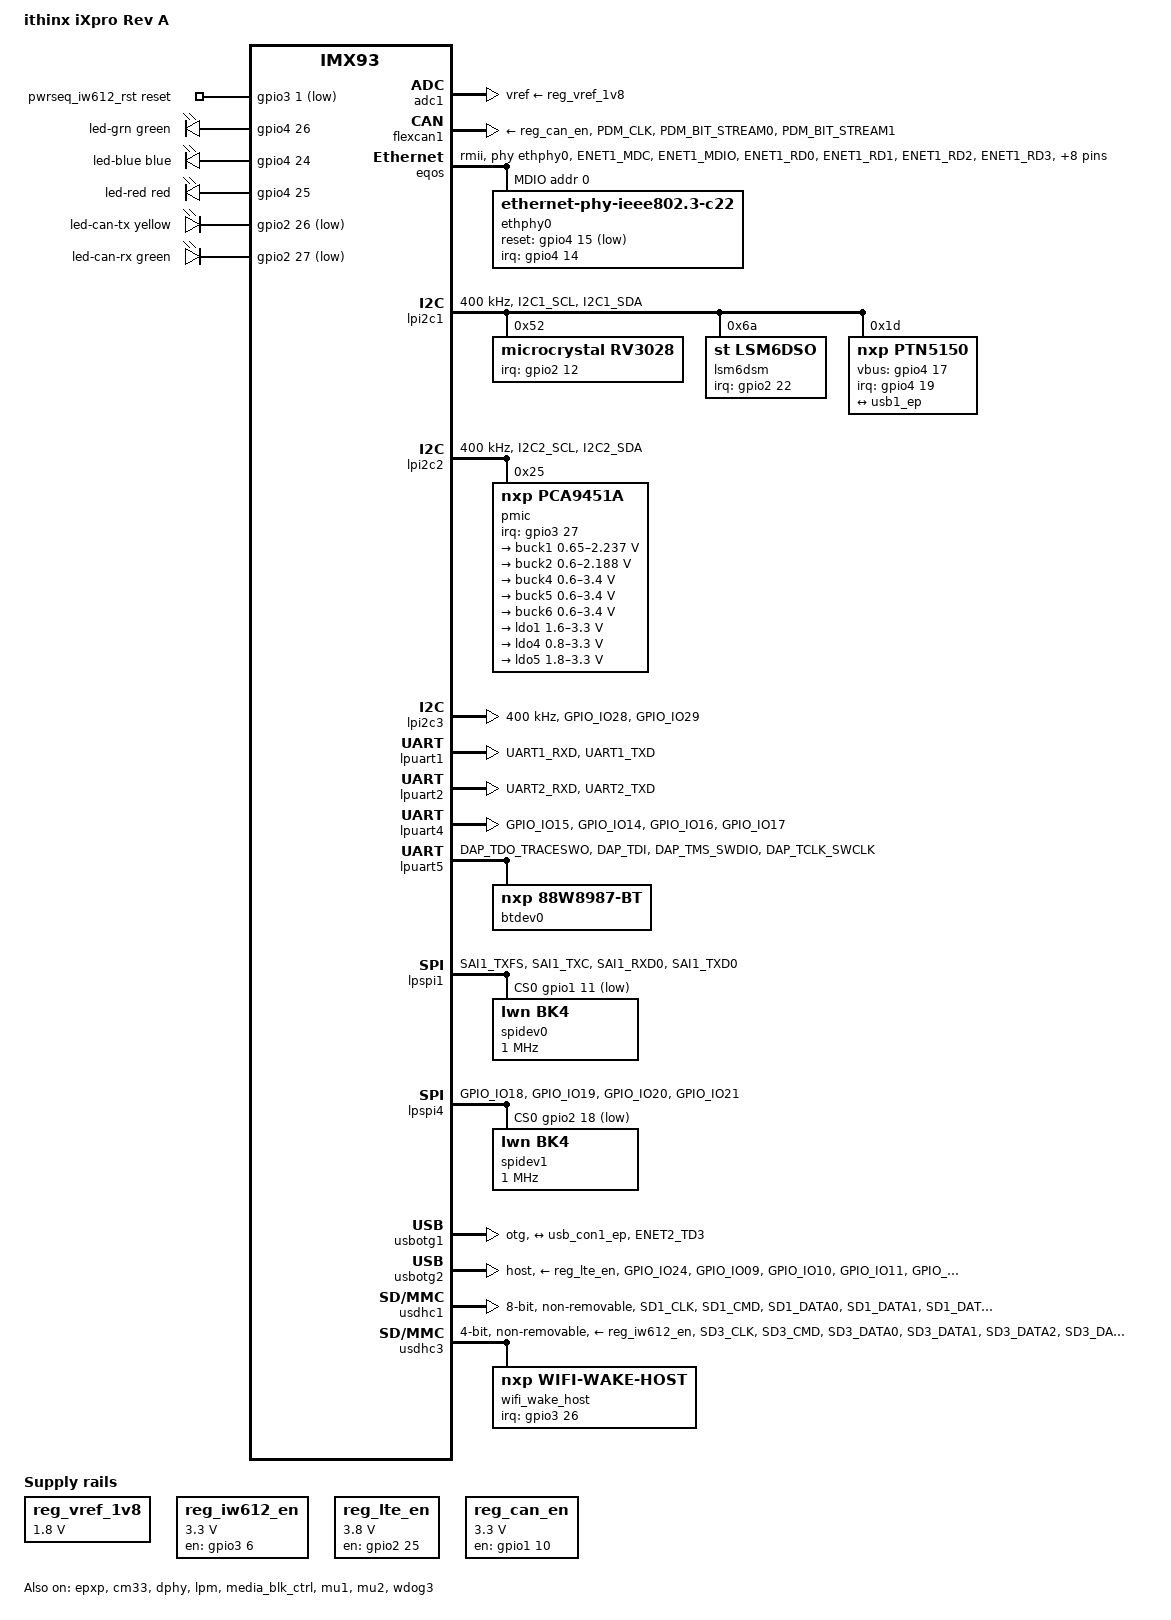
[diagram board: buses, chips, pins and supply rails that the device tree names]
/dts-v1/;

#include <dt-bindings/usb/pd.h>
#include <dt-bindings/leds/common.h>
#include "imx93.dtsi"

&ele_fw2 {
	memory-region = <&ele_reserved>;
};

/ {
	model = "ithinx iXpro Rev A";
	compatible = "fsl,imx93-11x11", "fsl,imx93";

	aliases {
		rtc0 = &rv3028;
		rtc1 = &bbnsm_rtc;
		eth0 = &eqos;
	};

	chosen {
		stdout-path = &lpuart1;
	};

	reserved-memory {
		#address-cells = <2>;
		#size-cells = <2>;
		ranges;

		linux,cma {
			compatible = "shared-dma-pool";
			reusable;
			alloc-ranges = <0 0x80000000 0 0x40000000>;
			size = <0 0x10000000>;
			linux,cma-default;
		};

		ethosu_mem: ethosu_region@C0000000 {
			compatible = "shared-dma-pool";
			reusable;
			reg = <0x0 0xC0000000 0x0 0x10000000>;
		};

		vdev0vring0: vdev0vring0@a4000000 {
			reg = <0 0xa4000000 0 0x8000>;
			no-map;
		};

		vdev0vring1: vdev0vring1@a4008000 {
			reg = <0 0xa4008000 0 0x8000>;
			no-map;
		};

		vdev1vring0: vdev1vring0@a4010000 {
			reg = <0 0xa4010000 0 0x8000>;
			no-map;
		};

		vdev1vring1: vdev1vring1@a4018000 {
			reg = <0 0xa4018000 0 0x8000>;
			no-map;
		};

		rsc_table: rsc-table@2021e000 {
			reg = <0 0x2021e000 0 0x1000>;
			no-map;
		};

		vdevbuffer: vdevbuffer@a4020000 {
			compatible = "shared-dma-pool";
			reg = <0 0xa4020000 0 0x100000>;
			no-map;
		};

		ele_reserved: ele-reserved@a4120000 {
			compatible = "shared-dma-pool";
			reg = <0 0xa4120000 0 0x100000>;
			no-map;
		};
	};

	ethosu {
		compatible = "arm,ethosu";
		fsl,cm33-proc = <&cm33>;
		memory-region = <&ethosu_mem>;
		power-domains = <&mlmix>;
	};

	reg_vref_1v8: regulator-vref-1v8 {
		compatible = "regulator-fixed";
		regulator-name = "vref_1v8";
		regulator-min-microvolt = <1800000>;
		regulator-max-microvolt = <1800000>;
	};

	reg_iw612_en: regulator-iw612-en {
		compatible = "regulator-fixed";
		regulator-name = "WLAN_EN";
		regulator-min-microvolt = <3300000>;
		regulator-max-microvolt = <3300000>;
		gpio = <&gpio3 6 GPIO_ACTIVE_HIGH>;
		/*
		 * IW612 wifi chip needs more delay than other wifi chips to complete
		 * the host interface initialization after power up, otherwise the
		 * internal state of IW612 may be unstable, resulting in the failure of
		 * the SDIO3.0 switch voltage.
		 */
		startup-delay-us = <20000>;
		enable-active-high;
	};

	pwrseq_iw612_rst: pwrseq-iw612-rst {
		compatible = "mmc-pwrseq-simple";
		reset-gpios = <&gpio3 1 GPIO_ACTIVE_LOW>;
	};

	reg_lte_en: regulator-lte-en {
		compatible = "regulator-fixed";
		regulator-name = "LTE_EN";
		regulator-min-microvolt = <3800000>;
		regulator-max-microvolt = <3800000>;
		gpio = <&gpio2 25 GPIO_ACTIVE_HIGH>;
		enable-active-high;
	};

	reg_can_en: regulator-can-en {
		compatible = "regulator-fixed";
		regulator-name = "CAN_EN";
		regulator-min-microvolt = <3300000>;
		regulator-max-microvolt = <3300000>;
		gpio = <&gpio1 10 GPIO_ACTIVE_HIGH>;
		enable-active-high;
	};

	led_controller: led-controller {
		compatible = "gpio-leds";
		pinctrl-names = "default";
		pinctrl-0 = <&pinctrl_led_gpio>;

		led-grn {
			color = <LED_COLOR_ID_GREEN>;
			function = LED_FUNCTION_DEBUG;
			gpios = <&gpio4 26 GPIO_ACTIVE_HIGH>;
			linux,default-trigger = "heartbeat";
			default-state = "off";
		};

		led-blue {
			color = <LED_COLOR_ID_BLUE>;
			function = LED_FUNCTION_DEBUG;
			gpios = <&gpio4 24 GPIO_ACTIVE_HIGH>;
			default-state = "off";
		};

		led-red {
			color = <LED_COLOR_ID_RED>;
			function = LED_FUNCTION_DEBUG;
			gpios = <&gpio4 25 GPIO_ACTIVE_HIGH>;
			default-state = "off";
		};

		led-can-tx {
			color = <LED_COLOR_ID_YELLOW>;
			function = LED_FUNCTION_TX;
			gpios = <&gpio2 26 GPIO_ACTIVE_LOW>;
			default-state = "off";
		};

		led-can-rx {
			color = <LED_COLOR_ID_GREEN>;
			function = LED_FUNCTION_RX;
			gpios = <&gpio2 27 GPIO_ACTIVE_LOW>;
			default-state = "off";
		};
	};
};

&epxp {
	status = "okay";
};

&adc1 {
	vref-supply = <&reg_vref_1v8>;
	status = "okay";
};

&cm33 {
	mbox-names = "tx", "rx", "rxdb";
	mboxes = <&mu1 0 1>,
		<&mu1 1 1>,
		<&mu1 3 1>;
	memory-region = <&vdevbuffer>, <&vdev0vring0>, <&vdev0vring1>,
			<&vdev1vring0>, <&vdev1vring1>, <&rsc_table>;
	fsl,startup-delay-ms = <500>;
	status = "okay";
};

&dphy {
	status = "okay";
};

&flexcan1 {
	pinctrl-names = "default";
	pinctrl-0 = <&pinctrl_flexcan1>, <&pinctrl_can_gpio>;
	xceiver-supply = <&reg_can_en>;
	status = "okay";
};

&eqos {
	pinctrl-names = "default";
	pinctrl-0 = <&pinctrl_eqos>;
	phy-mode = "rmii";
	phy-handle = <&ethphy0>;
	
	// 50MHz ENET1_TD2
	assigned-clocks = <&clk IMX93_CLK_ENET_TIMER2>,
					  <&clk IMX93_CLK_ENET>;
	assigned-clock-parents = <&clk IMX93_CLK_SYS_PLL_PFD1_DIV2>,
							 <&clk IMX93_CLK_SYS_PLL_PFD1_DIV2>;
	assigned-clock-rates = <100000000>, <50000000>;
	clk_csr = <5>;
	status = "okay";

	mdio {
		compatible = "snps,dwmac-mdio";
		#address-cells = <1>;
		#size-cells = <0>;
		clock-frequency = <2500000>;

		ethphy0: ethernet-phy@0 {
			compatible = "ethernet-phy-ieee802.3-c22";
			reg = <0>;
			pinctrl-names = "default";
			pinctrl-0 = <&pinctrl_ethphy_gpio>;
			interrupt-parent = <&gpio4>;
			interrupts = <14 IRQ_TYPE_LEVEL_LOW>;
			reset-names = "phy";
			reset-gpios = <&gpio4 15 GPIO_ACTIVE_LOW>;
			reset-assert-us = <25>;
			reset-post-delay-us = <500000>;
			rx-internal-delay-ps = <1>;
			tx-internal-delay-ps = <1>;
			max-speed = <100>;
		};
	};
};

&lpm {
	soc-supply = <&buck1>;
	status = "okay";
};

&lpi2c1 {
	#address-cells = <1>;
	#size-cells = <0>;
	clock-frequency = <400000>;
	pinctrl-names = "default", "sleep";
	pinctrl-0 = <&pinctrl_lpi2c1>;
	pinctrl-1 = <&pinctrl_lpi2c1>;
	status = "okay";

	rv3028: rtc@52 {
		compatible = "microcrystal,rv3028";
		reg = <0x52>;
		pinctrl-names = "default";
		pinctrl-0 = <&pinctrl_rtc_gpio>;
		interrupt-parent = <&gpio2>;
		interrupts = <12 IRQ_TYPE_LEVEL_LOW>;
		trickle-resistor-ohms = <3000>;
		trickle-voltage-millivolt = <3000>;
		status = "okay";
	};

	lsm6dsm: acc@6a {
		compatible = "st,lsm6dso";
		reg = <0x6a>;
		pinctrl-names = "default";
		pinctrl-0 = <&pinctrl_acc_gpio>;
		interrupt-parent = <&gpio2>;
		interrupts = <22 IRQ_TYPE_LEVEL_LOW>;
		status = "okay";
	};

	ptn5150: tcpc@1d {
		compatible = "nxp,ptn5150";
		reg = <0x1d>;
		pinctrl-names = "default";
		pinctrl-0 = <&pinctrl_tcpc_gpio>;
		interrupt-parent = <&gpio4>;
		interrupts = <19 IRQ_TYPE_LEVEL_LOW>;
		vbus-gpios = <&gpio4 17 GPIO_ACTIVE_HIGH>;
		status = "okay";

		usb_con1: connector {
			compatible = "usb-c-connector";
			label = "USB-C";
			power-role = "source";
			data-role = "dual";
			source-pdos = <PDO_FIXED(5000, 700, PDO_FIXED_USB_COMM)>;
			self-powered;
			pd-disable;
        };

		port {
			usb_con1_ep: endpoint {
				remote-endpoint = <&usb1_ep>;
			};
		};
	};
};

&lpi2c2 {
	#address-cells = <1>;
	#size-cells = <0>;
	clock-frequency = <400000>;
	pinctrl-names = "default", "sleep";
	pinctrl-0 = <&pinctrl_lpi2c2>;
	pinctrl-1 = <&pinctrl_lpi2c2>;
	status = "okay";

	pmic@25 {
		compatible = "nxp,pca9451a";
		reg = <0x25>;
		pinctrl-names = "default";
		pinctrl-0 = <&pinctrl_pmic_gpio>;
		interrupt-parent = <&gpio3>;
		interrupts = <27 IRQ_TYPE_EDGE_FALLING>;

		regulators {
			buck1: BUCK1 {
				regulator-name = "BUCK1";
				regulator-min-microvolt = <650000>;
				regulator-max-microvolt = <2237500>;
				regulator-boot-on;
				regulator-always-on;
				regulator-ramp-delay = <3125>;
			};

			buck2: BUCK2 {
				regulator-name = "BUCK2";
				regulator-min-microvolt = <600000>;
				regulator-max-microvolt = <2187500>;
				regulator-boot-on;
				regulator-always-on;
				regulator-ramp-delay = <3125>;
			};

			buck4: BUCK4{
				regulator-name = "BUCK4";
				regulator-min-microvolt = <600000>;
				regulator-max-microvolt = <3400000>;
				regulator-boot-on;
				regulator-always-on;
			};

			buck5: BUCK5{
				regulator-name = "BUCK5";
				regulator-min-microvolt = <600000>;
				regulator-max-microvolt = <3400000>;
				regulator-boot-on;
				regulator-always-on;
			};

			buck6: BUCK6 {
				regulator-name = "BUCK6";
				regulator-min-microvolt = <600000>;
				regulator-max-microvolt = <3400000>;
				regulator-boot-on;
				regulator-always-on;
			};

			ldo1: LDO1 {
				regulator-name = "LDO1";
				regulator-min-microvolt = <1600000>;
				regulator-max-microvolt = <3300000>;
				regulator-boot-on;
				regulator-always-on;
			};

			ldo4: LDO4 {
				regulator-name = "LDO4";
				regulator-min-microvolt = <800000>;
				regulator-max-microvolt = <3300000>;
				regulator-boot-on;
				regulator-always-on;
			};

			ldo5: LDO5 {
				regulator-name = "LDO5";
				regulator-min-microvolt = <1800000>;
				regulator-max-microvolt = <3300000>;
				regulator-boot-on;
				regulator-always-on;
			};
		};
	};
};

&lpi2c3 { /* EXT_I2C */
	#address-cells = <1>;
	#size-cells = <0>;
	clock-frequency = <400000>;
	pinctrl-names = "default", "sleep";
	pinctrl-0 = <&pinctrl_lpi2c3>;
	pinctrl-1 = <&pinctrl_lpi2c3>;
	status = "okay";
};

&lpuart1 { /* console */
	pinctrl-names = "default";
	pinctrl-0 = <&pinctrl_uart1>;
	status = "okay";
};

&lpuart2 { /* debug UART */
	pinctrl-names = "default";
	pinctrl-0 = <&pinctrl_uart2>;
	status = "okay";
};

&lpuart4 { /* ext UART */
	pinctrl-names = "default";
	pinctrl-0 = <&pinctrl_uart4>;
	status = "okay";
};

&lpuart5 { /* BT */
	pinctrl-names = "default";
	pinctrl-assert-gpios = <&gpio3 2 GPIO_ACTIVE_HIGH>;
	pinctrl-0 = <&pinctrl_uart5>;
	status = "okay";

	btdev0: bluetooth {
		compatible = "nxp,88w8987-bt";
	};
};

&lpspi1 { /* 802.15.4 */
    fsl,spi-num-chipselects = <1>;
    pinctrl-names = "default", "sleep";
    pinctrl-0 = <&pinctrl_lpspi1>;
    pinctrl-1 = <&pinctrl_lpspi1>;
    cs-gpios = <&gpio1 11 GPIO_ACTIVE_LOW>;
    status = "okay";

    spidev0: spi@0 {
        reg = <0>;
        compatible = "lwn,bk4";
        spi-max-frequency = <1000000>;
    };
};

&lpspi4 { /* ext SPI */
    fsl,spi-num-chipselects = <1>;
    pinctrl-names = "default", "sleep";
    pinctrl-0 = <&pinctrl_lpspi4>;
    pinctrl-1 = <&pinctrl_lpspi4>;
    cs-gpios = <&gpio2 18 GPIO_ACTIVE_LOW>;
    status = "okay";

    spidev1: spi@0 {
        reg = <0>;
        compatible = "lwn,bk4";
        spi-max-frequency = <1000000>;
    };
};

&media_blk_ctrl {
	status = "okay";
};

&mu1 {
	status = "okay";
};

&mu2 {
	status = "okay";
};

&usbotg1 {
	pinctrl-names = "default";
	pinctrl-0 = <&pinctrl_tccl_gpio>;
	dr_mode = "otg";
	usb-role-switch;
	role-switch-default-mode = "host";
	over-current-active-low;
	samsung,picophy-pre-emp-curr-control = <3>;
	samsung,picophy-dc-vol-level-adjust = <7>;
	status = "okay";

	port {
		usb1_ep: endpoint {
			remote-endpoint = <&usb_con1_ep>;
		};
	};
	port-1 {
		label ="usb-c-connector";
	};
};

&usbotg2 { /* LTE */
	pinctrl-names = "default";
	pinctrl-0 = <&pinctrl_lte_gpio>;
	dr_mode = "host";
	over-current-active-low;
	samsung,picophy-pre-emp-curr-control = <3>;
	samsung,picophy-dc-vol-level-adjust = <7>;
	vbus-supply = <&reg_lte_en>;
	status = "okay";

	port-4 {
		label ="usb-a-connector";
	};
};

&usdhc1 { /* eMMC */
	pinctrl-names = "default", "state_100mhz", "state_200mhz";
	pinctrl-0 = <&pinctrl_usdhc1>;
	pinctrl-1 = <&pinctrl_usdhc1_100mhz>;
	pinctrl-2 = <&pinctrl_usdhc1_200mhz>;
	bus-width = <8>;
	non-removable;
	status = "okay";
};

&usdhc3 { /* IW612 */
	pinctrl-names = "default", "state_100mhz", "state_200mhz";
	pinctrl-0 = <&pinctrl_usdhc3>, <&pinctrl_iw612_gpio>;
	pinctrl-1 = <&pinctrl_usdhc3_100mhz>, <&pinctrl_iw612_gpio>;
	pinctrl-2 = <&pinctrl_usdhc3_200mhz>, <&pinctrl_iw612_gpio>;
	mmc-pwrseq = <&pwrseq_iw612_rst>;
	vmmc-supply = <&reg_iw612_en>;
	bus-width = <4>;
	keep-power-in-suspend;
	non-removable;
	wakeup-source;
	fsl,sdio-async-interrupt-enabled;
	status = "okay";

	wifi_wake_host {
		compatible = "nxp,wifi-wake-host";
		interrupt-parent = <&gpio3>;
		interrupts = <26 IRQ_TYPE_LEVEL_LOW>;
		interrupt-names = "host-wake";
	};
};

&wdog3 {
	pinctrl-names = "default";
	pinctrl-0 = <&pinctrl_wdog>;
	status = "okay";
};

&iomuxc {
	pinctrl-names = "default";
    pinctrl-0 = <&pinctrl_hwrev_gpio>, <&pinctrl_ext_gpio>, <&pinctrl_tp_gpio>;

	pinctrl_flexcan1: flexcan1grp {
		fsl,pins = <
			MX93_PAD_PDM_CLK__CAN1_TX				0x0000011E
			MX93_PAD_PDM_BIT_STREAM0__CAN1_RX 		0x0000051E
		>;
	};

	pinctrl_lpi2c1: lpi2c1grp {
		fsl,pins = <
			MX93_PAD_I2C1_SCL__LPI2C1_SCL			0x40000b9e
			MX93_PAD_I2C1_SDA__LPI2C1_SDA			0x40000b9e
		>;
	};

	pinctrl_lpi2c2: lpi2c2grp {
		fsl,pins = <
			MX93_PAD_I2C2_SCL__LPI2C2_SCL			0x40000b9e
			MX93_PAD_I2C2_SDA__LPI2C2_SDA			0x40000b9e
		>;
	};

	pinctrl_lpi2c3: lpi2c3grp {
		fsl,pins = <
			MX93_PAD_GPIO_IO28__LPI2C3_SDA			0x40000b9e
			MX93_PAD_GPIO_IO29__LPI2C3_SCL			0x40000b9e
		>;
	};

	pinctrl_eqos: eqosgrp {
		fsl,pins = <
			MX93_PAD_ENET1_MDC__ENET_QOS_MDC 				0x57e
			MX93_PAD_ENET1_MDIO__ENET_QOS_MDIO 				0x57e
			MX93_PAD_ENET1_RD0__ENET_QOS_RGMII_RD0 			0x57e
			MX93_PAD_ENET1_RD1__ENET_QOS_RGMII_RD1 			0x57e
			MX93_PAD_ENET1_RD2__ENET_QOS_RGMII_RD2			0x57e
			MX93_PAD_ENET1_RD3__ENET_QOS_RGMII_RD3			0x57e
			MX93_PAD_ENET1_RXC__ENET_QOS_RX_ER 				0x5fe
			MX93_PAD_ENET1_RX_CTL__ENET_QOS_RGMII_RX_CTL 	0x57e
			MX93_PAD_ENET1_TD0__ENET_QOS_RGMII_TD0 			0x57e
			MX93_PAD_ENET1_TD1__ENET_QOS_RGMII_TD1 			0x57e
			MX93_PAD_ENET1_TD2__CCM_ENET_QOS_CLOCK_GENERATE_REF_CLK 0x4000057e
			MX93_PAD_ENET1_TD3__ENET_QOS_RGMII_TD3			0x57e
			MX93_PAD_ENET1_TXC__ENET_QOS_TX_ER				0x5fe
			MX93_PAD_ENET1_TX_CTL__ENET_QOS_RGMII_TX_CTL 	0x57e
		>;
	};

	pinctrl_uart1: uart1grp {
		fsl,pins = <
			MX93_PAD_UART1_RXD__LPUART1_RX			0x31e
			MX93_PAD_UART1_TXD__LPUART1_TX			0x31e
		>;
	};

	pinctrl_uart2: uart2grp {
		fsl,pins = <
			MX93_PAD_UART2_RXD__LPUART2_RX 			0x31e
			MX93_PAD_UART2_TXD__LPUART2_TX			0x31e
		>;
	};

	pinctrl_uart4: uart4grp {
		fsl,pins = <
			MX93_PAD_GPIO_IO15__LPUART4_RX 			0x31E
			MX93_PAD_GPIO_IO14__LPUART4_TX 			0x31E
			MX93_PAD_GPIO_IO16__LPUART4_CTS_B 		0x31E
			MX93_PAD_GPIO_IO17__LPUART4_RTS_B 		0x31E
		>;
	};

	pinctrl_uart5: uart5grp {
		fsl,pins = <
			MX93_PAD_DAP_TDO_TRACESWO__LPUART5_TX	0x31e
			MX93_PAD_DAP_TDI__LPUART5_RX			0x31e
			MX93_PAD_DAP_TMS_SWDIO__LPUART5_RTS_B	0x31e
			MX93_PAD_DAP_TCLK_SWCLK__LPUART5_CTS_B	0x31e
		>;
	};

	/* need to config the SION for data and cmd pad, refer to ERR052021 */
	pinctrl_usdhc1: usdhc1grp {
		fsl,pins = <
			MX93_PAD_SD1_CLK__USDHC1_CLK		0x1582
			MX93_PAD_SD1_CMD__USDHC1_CMD		0x40001382
			MX93_PAD_SD1_DATA0__USDHC1_DATA0	0x40001382
			MX93_PAD_SD1_DATA1__USDHC1_DATA1	0x40001382
			MX93_PAD_SD1_DATA2__USDHC1_DATA2	0x40001382
			MX93_PAD_SD1_DATA3__USDHC1_DATA3	0x40001382
			MX93_PAD_SD1_DATA4__USDHC1_DATA4	0x40001382
			MX93_PAD_SD1_DATA5__USDHC1_DATA5	0x40001382
			MX93_PAD_SD1_DATA6__USDHC1_DATA6	0x40001382
			MX93_PAD_SD1_DATA7__USDHC1_DATA7	0x40001382
			MX93_PAD_SD1_STROBE__USDHC1_STROBE	0x1582
		>;
	};

	/* need to config the SION for data and cmd pad, refer to ERR052021 */
	pinctrl_usdhc1_100mhz: usdhc1-100mhzgrp {
		fsl,pins = <
			MX93_PAD_SD1_CLK__USDHC1_CLK		0x158e
			MX93_PAD_SD1_CMD__USDHC1_CMD		0x4000138e
			MX93_PAD_SD1_DATA0__USDHC1_DATA0	0x4000138e
			MX93_PAD_SD1_DATA1__USDHC1_DATA1	0x4000138e
			MX93_PAD_SD1_DATA2__USDHC1_DATA2	0x4000138e
			MX93_PAD_SD1_DATA3__USDHC1_DATA3	0x4000138e
			MX93_PAD_SD1_DATA4__USDHC1_DATA4	0x4000138e
			MX93_PAD_SD1_DATA5__USDHC1_DATA5	0x4000138e
			MX93_PAD_SD1_DATA6__USDHC1_DATA6	0x4000138e
			MX93_PAD_SD1_DATA7__USDHC1_DATA7	0x4000138e
			MX93_PAD_SD1_STROBE__USDHC1_STROBE	0x158e
		>;
	};

	/* need to config the SION for data and cmd pad, refer to ERR052021 */
	pinctrl_usdhc1_200mhz: usdhc1-200mhzgrp {
		fsl,pins = <
			MX93_PAD_SD1_CLK__USDHC1_CLK		0x15fe
			MX93_PAD_SD1_CMD__USDHC1_CMD		0x400013fe
			MX93_PAD_SD1_DATA0__USDHC1_DATA0	0x400013fe
			MX93_PAD_SD1_DATA1__USDHC1_DATA1	0x400013fe
			MX93_PAD_SD1_DATA2__USDHC1_DATA2	0x400013fe
			MX93_PAD_SD1_DATA3__USDHC1_DATA3	0x400013fe
			MX93_PAD_SD1_DATA4__USDHC1_DATA4	0x400013fe
			MX93_PAD_SD1_DATA5__USDHC1_DATA5	0x400013fe
			MX93_PAD_SD1_DATA6__USDHC1_DATA6	0x400013fe
			MX93_PAD_SD1_DATA7__USDHC1_DATA7	0x400013fe
			MX93_PAD_SD1_STROBE__USDHC1_STROBE	0x15fe
		>;
	};

	/* need to config the SION for data and cmd pad, refer to ERR052021 */
	pinctrl_usdhc3: usdhc3grp {
		fsl,pins = <
			MX93_PAD_SD3_CLK__USDHC3_CLK		0x1582
			MX93_PAD_SD3_CMD__USDHC3_CMD		0x40001382
			MX93_PAD_SD3_DATA0__USDHC3_DATA0	0x40001382
			MX93_PAD_SD3_DATA1__USDHC3_DATA1	0x40001382
			MX93_PAD_SD3_DATA2__USDHC3_DATA2	0x40001382
			MX93_PAD_SD3_DATA3__USDHC3_DATA3	0x40001382
		>;
	};

	/* need to config the SION for data and cmd pad, refer to ERR052021 */
	pinctrl_usdhc3_100mhz: usdhc3-100mhzgrp {
		fsl,pins = <
			MX93_PAD_SD3_CLK__USDHC3_CLK		0x158e
			MX93_PAD_SD3_CMD__USDHC3_CMD		0x4000138e
			MX93_PAD_SD3_DATA0__USDHC3_DATA0	0x4000138e
			MX93_PAD_SD3_DATA1__USDHC3_DATA1	0x4000138e
			MX93_PAD_SD3_DATA2__USDHC3_DATA2	0x4000138e
			MX93_PAD_SD3_DATA3__USDHC3_DATA3	0x4000138e
		>;
	};

	/* need to config the SION for data and cmd pad, refer to ERR052021 */
	pinctrl_usdhc3_200mhz: usdhc3-200mhzgrp {
		fsl,pins = <
			MX93_PAD_SD3_CLK__USDHC3_CLK		0x15fe
			MX93_PAD_SD3_CMD__USDHC3_CMD		0x400013fe
			MX93_PAD_SD3_DATA0__USDHC3_DATA0	0x400013fe
			MX93_PAD_SD3_DATA1__USDHC3_DATA1	0x400013fe
			MX93_PAD_SD3_DATA2__USDHC3_DATA2	0x400013fe
			MX93_PAD_SD3_DATA3__USDHC3_DATA3	0x400013fe
		>;
	};

	pinctrl_lpspi1: lpspi3grp {
		fsl,pins = <
			MX93_PAD_SAI1_TXFS__GPIO1_IO11      0x51E /* SPI1_CS0 */
			MX93_PAD_SAI1_TXC__LPSPI1_SIN       0x51E /* SPI1_MOSI */
			MX93_PAD_SAI1_RXD0__LPSPI1_SOUT     0x11E /* SPI1_MISO */
			MX93_PAD_SAI1_TXD0__LPSPI1_SCK      0x11E /* SPI1_CLK */
        >;
    };

	pinctrl_lpspi4: lpspi4grp {
		fsl,pins = <
			MX93_PAD_GPIO_IO18__GPIO2_IO18 		0x11E /* SPI4_CS0 */
			MX93_PAD_GPIO_IO19__LPSPI4_SIN 		0x51E /* SPI4_MOSI */
			MX93_PAD_GPIO_IO20__LPSPI4_SOUT 	0x11E /* SPI4_MISO */
			MX93_PAD_GPIO_IO21__LPSPI4_SCK 		0x11E /* SPI4_CLK */
        >;
    };

	pinctrl_wdog: wdoggrp {
		fsl,pins = <
			MX93_PAD_WDOG_ANY__WDOG1_WDOG_ANY 	0x31E /* WDOG_B */
		>;
	};

	pinctrl_rtc_gpio: rtc-gpiogrp {
		fsl,pins = <
			MX93_PAD_GPIO_IO12__GPIO2_IO12 		0x31E /* RTC_INTn */
		>;
	};

	pinctrl_acc_gpio: acc-gpiogrp {
		fsl,pins = <
			MX93_PAD_GPIO_IO22__GPIO2_IO22 		0x51E /* ACC_INT */
		>;
	};

	pinctrl_pmic_gpio: pmic-gpiogrp {
		fsl,pins = <
			MX93_PAD_CCM_CLKO2__GPIO3_IO27 		0x31E /* PMIC_INTn */
		>;
	};

	pinctrl_tcpc_gpio: tcpc-gpiogrp {
		fsl,pins = <
			MX93_PAD_ENET2_TD0__GPIO4_IO19 		0x11E /* USB_CC_INTn */
			MX93_PAD_ENET2_TD1__GPIO4_IO18 		0x11E /* USB_CC_EXT_SEL */
			MX93_PAD_ENET2_TD2__GPIO4_IO17 		0x11E /* USB_C_EN */
		>;
	};

	pinctrl_tccl_gpio: tccl-gpiogrp {
		fsl,pins = <
			MX93_PAD_ENET2_TD3__GPIO4_IO16 		0x11E /* USB_C_FLTn */
		>;
	};

	pinctrl_lte_gpio: lte-gpiogrp {
		fsl,pins = <
			MX93_PAD_GPIO_IO24__GPIO2_IO24 		0x51E /* LTE_WKUP_INT */
			MX93_PAD_GPIO_IO09__GPIO2_IO09 		0x11E /* LTE_PWRKEY */
			MX93_PAD_GPIO_IO10__GPIO2_IO10      0x11E /* LTE_USB_BOOT */
			MX93_PAD_GPIO_IO11__GPIO2_IO11 		0x11E /* LTE_RST */
			MX93_PAD_GPIO_IO25__GPIO2_IO25 		0x11E /* LTE_EN */
		>;
	};

	pinctrl_iw612_gpio: iw612-gpiogrp {
		fsl,pins = <
			MX93_PAD_SD2_CD_B__GPIO3_IO00       0x11E /* WL_WAKE_INx */
			MX93_PAD_SD2_CLK__GPIO3_IO01		0x11E /* IND_RST_WLx */
			MX93_PAD_SD2_CMD__GPIO3_IO02        0x11E /* IND_RST_BTx */
			MX93_PAD_SD2_DATA0__GPIO3_IO03      0x11E /* IND_RST_15.4x */
			MX93_PAD_SD2_DATA3__GPIO3_IO06      0x11E /* PDnx */
			MX93_PAD_SD2_RESET_B__GPIO3_IO07    0x11E /* BT_15.4_WAKE_INx */
			MX93_PAD_CCM_CLKO1__GPIO3_IO26      0x51E /* WL_WAKE_OUTx */
			MX93_PAD_ENET2_TX_CTL__GPIO4_IO20   0x51E /* BT_15.4_WAKE_OUTx */
			MX93_PAD_SD2_VSELECT__GPIO3_IO19    0x51E /* SPI_INTx */
			MX93_PAD_ENET2_TXC__GPIO4_IO21      0x51E /* RST_INDx */
		>;
	};

	pinctrl_ethphy_gpio: ethphy-gpiogrp {
		fsl,pins = <
			MX93_PAD_ENET2_MDIO__GPIO4_IO15 	0x11E /* ETH_RSTn */
			MX93_PAD_ENET2_MDC__GPIO4_IO14 		0x51E /* ETH_INTn */
		>;
	};

	pinctrl_can_gpio: can-gpiogrp {
		fsl,pins = <
			MX93_PAD_PDM_BIT_STREAM1__GPIO1_IO10 	0x11E /* CAN_EN */
		>;
	};

	pinctrl_led_gpio: led-gpiogrp {
		fsl,pins = <
			MX93_PAD_ENET2_RD0__GPIO4_IO24 		0x11E /* DBG_LED_YEL */
			MX93_PAD_ENET2_RD1__GPIO4_IO25 		0x11E /* DBG_LED_RED */
			MX93_PAD_ENET2_RD2__GPIO4_IO26 		0x11E /* DBG_LED_GRN */
			MX93_PAD_GPIO_IO26__GPIO2_IO26 		0x11E /* CAN_TXD_LED */
			MX93_PAD_GPIO_IO27__GPIO2_IO27 		0x11E /* CAN_RXD_LED */
		>;
	};

	pinctrl_hwrev_gpio: hwrev-gpiogrp {
		fsl,pins = <
			MX93_PAD_ENET2_RD3__GPIO4_IO27 		0x51E /* HW_Bit0 */
			MX93_PAD_ENET2_RXC__GPIO4_IO23 		0x51E /* HW_Bit1 */
			MX93_PAD_ENET2_RX_CTL__GPIO4_IO22 	0x51E /* HW_Bit2 */
		>;
	};

	pinctrl_ext_gpio: ext-gpiogrp {
		fsl,pins = <
			MX93_PAD_GPIO_IO05__GPIO2_IO05 		0x51E /* EXT_GPIO_0 */
			MX93_PAD_GPIO_IO06__GPIO2_IO06 		0x51E /* EXT_GPIO_1 */
			MX93_PAD_GPIO_IO07__GPIO2_IO07 		0x51E /* EXT_GPIO_2 */
			MX93_PAD_GPIO_IO08__GPIO2_IO08 		0x51E /* EXT_GPIO_3 */
			MX93_PAD_GPIO_IO04__GPIO2_IO04 		0x11E /* EXT_5V_EN */
			MX93_PAD_GPIO_IO23__GPIO2_IO23 		0x31E /* EXT_WKUP_GPIO */
		>;
	};

	pinctrl_tp_gpio: tp-gpiogrp {
		fsl,pins = <
			MX93_PAD_SD2_DATA1__GPIO3_IO04 		0x51E /* TP501 */
			MX93_PAD_SD2_DATA2__GPIO3_IO05 		0x51E /* TP506 */
			/*MX93_PAD_GPIO_IO25__GPIO2_IO25 		0x11E /* TP510 */
		>;
	};
};

&gpio1 {
	gpio-line-names = "I2C1_SCL", "I2C1_SDA", "I2C2_SCL", "I2C2_SDA",
					  "UART1_RXD", "UART1_TXD", "UART2_RXD", "UART2_TXD",
					  "CAN1_TXD", "CAN1_RXD", "CAN_EN", "SPI1_CS0",
					  "SPI1_MISO", "SPI1_CLK", "SPI1_MOSI" ,"WDOG_B",
					  "", "", "", "",
					  "", "", "", "",
					  "", "", "", "",
					  "", "", "", "";
};

&gpio2 {
	gpio-line-names = "RS485_RXD", "RS485_TXD", "RS485_nRE", "RS485_DE",
					  "EXT_5V_EN", "EXT_GPIO_0", "EXT_GPIO_1", "EXT_GPIO_2",
					  "EXT_GPIO_3", "LTE_PWRKEY", "LTE_USB_BOOT", "LTE_RST",
					  "RTC_INTn", "RS485_WKUP", "EXT_UART_TXD" ,"EXT_UART_RXD",
					  "EXT_UART_CTS", "EXT_UART_RTS", "EXT_SPI_CSn", "EXT_SPI_MISO",
					  "EXT_SPI_MOSI", "EXT_SPI_CLK", "ACC_INT", "EXT_WKUP_GPIO",
					  "LTE_WKUP_INT", "TP510/LTE_EN", "CTP_INT", "CTP_RES",
					  "EXT_I2C_SCL", "EXT_I2C_SDA", "", "";
};

&gpio3 {
	gpio-line-names = "WL_WAKE_INx", "IND_RST_WLx", "IND_RST_BTx", "IND_RST_14_4x",
					  "TP501", "TP506", "PDnx", "BT_15.4_WAKE_INx",
					  "SD1_CLK", "SD1_CMD", "SD1_DATA0", "SD1_DATA1",
					  "SD1_DATA2", "SD1_DATA3", "SD1_DATA4" ,"SD1_DATA5",
					  "SD1_DATA6", "SD1_DATA7", "SD1_STROBE", "SPI_INTx",
					  "SD3_CLK", "SD3_CMD", "SD3_DATA0", "SD3_DATA1",
					  "SD3_DATA2", "SD3_DATA3", "WL_WAKE_OUTx", "PMIC_INTn",
					  "JTAG_TDI", "JTAG_TMS", "JTAG_TCK", "JTAG_TDO";
};

&gpio4 {
	gpio-line-names = "ENET1_MDC", "ENET1_MDIO", "TP1002", "ENET1_TD2",
					  "ENET1_TD1", "ENET1_TDO", "ENET1_TX_CTL", "TP1003",
					  "ENET1_RX_CTL", "ENET1_RXC", "ENET1_RD0", "ENET1_RD1",
					  "TP1004", "TP1005" ,"ETH_INTn", "ETH_RSTn",
					  "USB_C_FLTn", "USB_C_EN", "USB_CC_EXT_SEL", "USB_CC_INTn",
					  "BT_15.4_WAKE_OUTx", "RST_INDx", "HW_Bit2", "HW_Bit1", 
					  "DBG_LED_YEL", "DBG_LED_RED", "DBG_LED_GRN", "HW_Bit0",
					  "", "", "", "";
};
